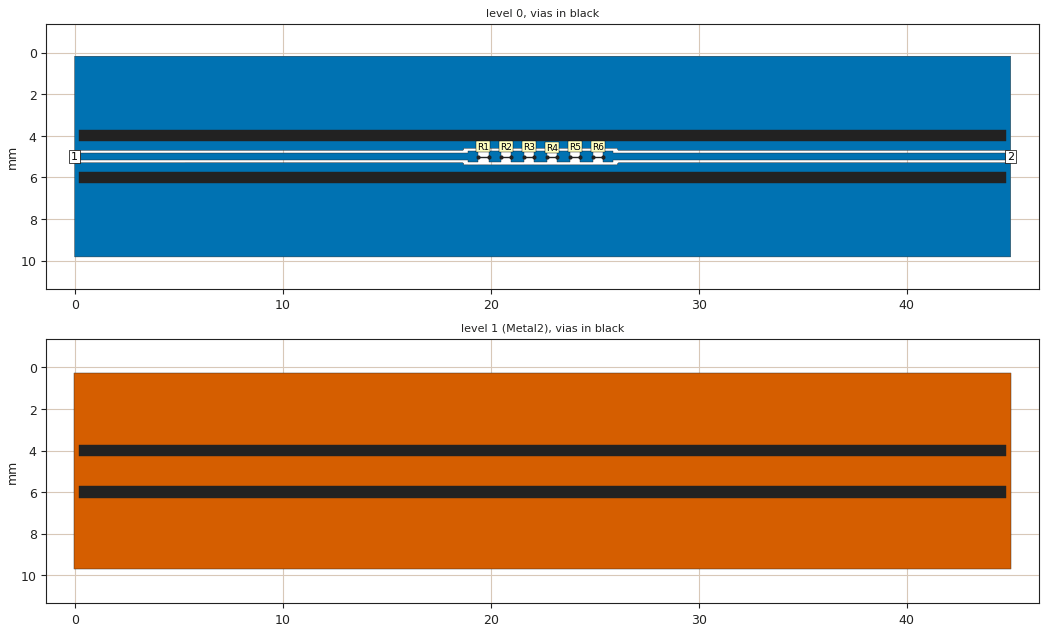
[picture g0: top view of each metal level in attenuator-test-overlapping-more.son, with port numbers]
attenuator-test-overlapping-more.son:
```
FTYP SONPROJ 17 ! Sonnet Project File
VER 17.52.2
HEADER
LIC antikernel2.2.49648 90e2ba8817c0 havequick azonenberg
DAT 08/30/2020 01:08:44
BUILT_BY_CREATED xgeom 16.56 07/03/2018 15:05:41
BUILT_BY_SAVED sonnet 17.52.2
MDATE 08/30/2020 01:08:44
HDATE 08/30/2020 01:08:44
END HEADER
DIM
ANG DEG
CAP PF
CON /OH
FREQ GHZ
IND NH
LNG MM
RES OH
END DIM
CONTROL
VARSWP
OPTIONS  -dj
SPEED 1
CACHE_ABS 1
Q_ACC N
END CONTROL
GEO
TMET "Free Space" 0 FREESPACE 376.7303136 0 0 0
BMET "Free Space" 0 FREESPACE 376.7303136 0 0 0
MET "Silver" 1 TMM 61700000 0.5 0.035 2
BRI "Alumina (96%)" 0 9.4 0.0004 0 
BRI "Alumina (99.5%)" 0 9.9 0.0001 0 
BRI "Aluminum Nitride" 0 8.6 0.0003 0 
BRI "Arlon 25FR" 0 3.58 0.0035 0 
BRI "Arlon 25N" 0 3.38 0.0025 0 
BRI "Arlon AD5" 0 5.1 0.003 0 
BRI "Arlon AD10" 0 10.2 0.005 0 
BRI "Arlon AD250" 0 2.5 0.0018 0 
BRI "Arlon AD255A" 0 2.55 0.0015 0 
BRI "Arlon AD260A" 0 2.6 0.0018 0 
BRI "Arlon AD270" 0 2.7 0.0023 0 
BRI "Arlon AD300A" 0 3 0.002 0 
BRI "Arlon AD320A" 0 3.2 0.0032 0 
BRI "Arlon AD350A" 0 3.5 0.003 0 
BRI "Arlon AD410" 0 4.1 0.003 0 
BRI "Arlon AD430" 0 4.3 0.003 0 
BRI "Arlon AD450" 0 4.5 0.0035 0 
BRI "Arlon AD600" 0 6.15 0.003 0 
BRI "Arlon AD1000" 0 10.2 0.0023 0 
BRI "Arlon AR1000" 0 9.8 0.003 0 
BRI "Arlon CLTE" 0 2.96 0.0023 0 
BRI "Arlon CLTE-AT" 0 3 0.0013 0 
BRI "Arlon CLTE-P" 0 2.94 0.0025 0 
BRI "Arlon CLTE-XT" 0 2.94 0.0012 0 
BRI "Arlon Cu 217LX" 0 2.17 0.0009 0 
BRI "Arlon Cu 233LX" 0 2.33 0.0013 0 
BRI "Arlon Cu 250GT" 0 2.5 0.001 0 
BRI "Arlon Cu 250GX" 0 2.5 0.0018 0 
BRI "Arlon Cu 6250" 0 2.32 0.0013 0 
BRI "Arlon Cu 6700" 0 2.35 0.0025 0 
BRI "Arlon Di 522" 0 2.5 0.001 0 
BRI "Arlon Di 527" 0 2.5 0.0018 0 
BRI "Arlon Di 870" 0 2.33 0.0013 0 
BRI "Arlon Di 880" 0 2.17 0.0009 0 
BRI "Arlon Iso 917" 0 2.17 0.0013 0 
BRI "Arlon Iso 933" 0 2.33 0.0016 0 
BRI "Arlon Multi HF" 0 3.7 0.004 0 
BRI "Arlon TC350" 0 3.5 0.002 0 
BRI "Arlon TC600" 0 6.15 0.002 0 
BRI "Beryllia (99.5%)" 0 6.5 0.0004 0 
BRI "CEM-1" 0 4.5 0.02 0 
BRI "CEM-3" 0 4.5 0.02 0 
BRI "Dupont 9K7" 0 7.1 0.0012 0 
BRI "Dupont 943" 0 7.4 0.002 0 
BRI "Dupont 951" 0 7.8 0.006 0 
BRI "Dupont FEP" 0 2 0.0005 0 
BRI "Dupont Vacrel" 0 3.8 0.011 0 
BRI "ESL 41010" 0 7.5 0.005 0 
BRI "ESL 41020" 0 7.25 0.005 0 
BRI "ESL 41050" 0 13.5 0.002 0 
BRI "ESL 41060" 0 16.5 0.002 0 
BRI "ESL 41110" 0 4.5 0.004 0 
BRI "Ferro A6M" 0 5.9 0.002 0 
BRI "Ferro A6S" 0 5.9 0.002 0 
BRI "Ferro L8" 0 7.3 0.0018 0 
BRI "FR-4" 0 4.4 0.02 0 
BRI "G-10" 0 4.8 0.025 0 
BRI "Gallium Arsenide" 0 12.9 0.006 0 
BRI "Gallium Nitride" 0 9.7 0 0 
BRI "Glass (Pyrex)" 0 4.82 0.0054 0 
BRI "Heraeus HL2000" 0 7.3 0.0026 0 
BRI "Isola 370HR" 0 4.04 0.021 0 
BRI "Isola FR408" 0 3.77 0.0116 0 
BRI "Isola FR408HR" 0 3.68 0.0092 0 
BRI "Isola Getek" 0 3.6 0.01 0 
BRI "Isola GI-180" 0 3.7 0.013 0 
BRI "Isola IS415" 0 3.82 0.0125 0 
BRI "Isola IS620i" 0 3.58 0.006 0 
BRI "Isola IS680-280" 0 2.8 0.0025 0 
BRI "Isola IS680-300" 0 3 0.003 0 
BRI "Isola IS680-320" 0 3.2 0.003 0 
BRI "Isola IS680-333" 0 3.33 0.003 0 
BRI "Isola IS680-338" 0 3.38 0.0032 0 
BRI "Isola IS680-345" 0 3.45 0.0036 0 
BRI "Kerafol CT800" 0 5.3 0.008 0 
BRI "Nelco MW9350" 0 3.7 0.004 0 
BRI "Nelco N4000-12" 0 3.7 0.008 0 
BRI "Nelco N4000-13" 0 3.7 0.009 0 
BRI "Nelco N4000-13SI" 0 3.2 0.007 0 
BRI "Nelco N4000-13EP" 0 3.7 0.008 0 
BRI "Nelco N4350-13RF" 0 3.5 0.0065 0 
BRI "Nelco N4380-13RF" 0 3.8 0.007 0 
BRI "Nelco N9300-13RF" 0 3 0.004 0 
BRI "Nelco N9320-13RF" 0 3.2 0.0045 0 
BRI "Nelco N9338-13RF" 0 3.38 0.0046 0 
BRI "Nelco N9350-13RF" 0 3.48 0.0055 0 
BRI "Nelco NH9294" 0 2.94 0.0022 0 
BRI "Nelco NH9300" 0 3 0.0023 0 
BRI "Nelco NH9320" 0 3.2 0.0024 0 
BRI "Nelco NH9338" 0 3.38 0.0025 0 
BRI "Nelco NH9348" 0 3.48 0.003 0 
BRI "Nelco NH9350" 0 3.5 0.003 0 
BRI "Nelco NH9410" 0 4.1 0.003 0 
BRI "Nelco NH9450" 0 4.5 0.003 0 
BRI "Nelco NX9240" 0 2.4 0.0016 0 
BRI "Nelco NX9245" 0 2.45 0.0016 0 
BRI "Nelco NX9250" 0 2.5 0.0017 0 
BRI "Nelco NX9255" 0 2.55 0.0018 0 
BRI "Nelco NX9260" 0 2.6 0.0019 0 
BRI "Nelco NY9208" 0 2.08 0.0006 0 
BRI "Nelco NY9217" 0 2.17 0.0008 0 
BRI "Nelco NY9220" 0 2.2 0.0009 0 
BRI "Nelco NY9233" 0 2.33 0.0011 0 
BRI "PET" 0 3.37 0.0208 0 
BRI "Polyimide" 0 3.5 0.003 0 
BRI "Quartz (Fused)" 0 3.78 0.0001 0 
BRI "Rogers 3001" 0 2.28 0.003 0 
BRI "Rogers RO2808" 0 7.6 0.0015 0 
BRI "Rogers RO3003" 0 3 0.0013 0 
BRI "Rogers RO3006" 0 6.5 0.002 0 
BRI "Rogers RO3010" 0 11.2 0.0022 0 
BRI "Rogers RO3035" 0 3.6 0.0018 0 
BRI "Rogers RO3203" 0 3.02 0.0016 0 
BRI "Rogers RO3206" 0 6.6 0.0027 0 
BRI "Rogers RO3210" 0 10.8 0.0027 0 
BRI "Rogers RO3730" 0 3 0.0016 0 
BRI "Rogers RO4003C" 0 3.55 0.0029 0 
BRI "Rogers RO4533" 0 3.45 0.0029 0 
BRI "Rogers RO4534" 0 3.4 0.003 0 
BRI "Rogers RO4350B" 0 3.66 0.0037 0 
BRI "Rogers RO4350BTX" 0 3.66 0.0034 0 
BRI "Rogers RO4360" 0 6.15 0.0038 0 
BRI "Rogers RO4450B-3.6" 0 3.3 0.0043 0 
BRI "Rogers RO4450B-4" 0 3.54 0.004 0 
BRI "Rogers RO4450F" 0 3.52 0.0041 0 
BRI "Rogers RO4730" 0 3 0.0033 0 
BRI "Rogers RT5870" 0 2.33 0.0012 0 
BRI "Rogers RT5880" 0 2.2 0.0009 0 
BRI "Rogers RT5880LZ" 0 1.96 0.0019 0 
BRI "Rogers RT6002" 0 2.94 0.0012 0 
BRI "Rogers RT6006" 0 6.15 0.0027 0 
BRI "Rogers RT6010LM" 0 10.9 0.0023 0 
BRI "Rogers RT6035HTC" 0 3.6 0.0013 0 
BRI "Rogers RT6202" 0 2.94 0.0015 0 
BRI "Rogers RT6202PR" 0 2.95 0.0015 0 
BRI "Rogers Syron7000" 0 3.4 0.0045 0 
BRI "Rogers Syron7100-2" 0 3.61 0.006 0 
BRI "Rogers Syron7100-4" 0 3.39 0.005 0 
BRI "Rogers Theta" 0 4.01 0.0118 0 
BRI "Rogers TMM 3" 0 3.39 0.002 0 
BRI "Rogers TMM 4" 0 4.5 0.002 0 
BRI "Rogers TMM 6" 0 6 0.0023 0 
BRI "Rogers TMM 10" 0 9.56 0.0022 0 
BRI "Rogers TMM 10i" 0 9.96 0.002 0 
BRI "Rogers UL2000" 0 2.5 0.0019 0 
BRI "Rogers UL3850" 0 3.05 0.0025 0 
BRI "Rogers UL3908" 0 2.9 0.0025 0 
BRI "Rogers XT8000" 0 3.34 0.0035 0 
BRI "Rogers XT8100-2" 0 3.54 0.0049 0 
BRI "Rogers XT8100-4" 0 3.32 0.0038 0 
BRI "Silicon (intrinsic)" 0 11.9 0.004 0.00044 
BRI "Silicon Dioxide" 0 3.9 0 0 
BRI "Silicon Nitride" 0 7.5 0 0 
BRI "Taconic CER-10" 0 10 0.0035 0 
BRI "Taconic FastFilm" 0 2.7 0.0012 0 
BRI "Taconic Fastrise-DS" 0 2.96 0.0018 0 
BRI "Taconic Fastrise27" 0 2.7 0.0014 0 
BRI "Taconic Fastrise77" 0 7.7 0.0034 0 
BRI "Taconic FEP" 0 2 0.0003 0 
BRI "Taconic RF-30" 0 3 0.0014 0 
BRI "Taconic RF-35" 0 3.5 0.0018 0 
BRI "Taconic RF-35A2" 0 3.5 0.0011 0 
BRI "Taconic RF-35P" 0 3.5 0.0025 0 
BRI "Taconic RF-41" 0 4.1 0.0038 0 
BRI "Taconic RF-43" 0 4.3 0.0033 0 
BRI "Taconic RF-45" 0 4.5 0.0037 0 
BRI "Taconic RF-60A" 0 6.15 0.0038 0 
BRI "Taconic RF-301" 0 2.97 0.0012 0 
BRI "Taconic TacBond HT" 0 2.35 0.0025 0 
BRI "Taconic TLA-6" 0 2.62 0.0012 0 
BRI "Taconic TLC-27" 0 2.75 0.003 0 
BRI "Taconic TLC-30" 0 3 0.003 0 
BRI "Taconic TLC-32" 0 3.2 0.003 0 
BRI "Taconic TLE-95" 0 2.95 0.0028 0 
BRI "Taconic TLF-34" 0 3.4 0.002 0 
BRI "Taconic TLF-35" 0 3.5 0.002 0 
BRI "Taconic TLP-3" 0 2.33 0.0009 0 
BRI "Taconic TLP-5" 0 2.2 0.0009 0 
BRI "Taconic TLP-5A" 0 2.17 0.0009 0 
BRI "Taconic TLT-0" 0 2.45 0.0006 0 
BRI "Taconic TLT-9" 0 2.5 0.0006 0 
BRI "Taconic TLT-8" 0 2.55 0.0006 0 
BRI "Taconic TLT-7" 0 2.6 0.0006 0 
BRI "Taconic TLT-6" 0 2.65 0.0006 0 
BRI "Taconic TLX-0" 0 2.45 0.0019 0 
BRI "Taconic TLX-9" 0 2.5 0.0019 0 
BRI "Taconic TLX-8" 0 2.55 0.0019 0 
BRI "Taconic TLX-7" 0 2.6 0.0019 0 
BRI "Taconic TLX-6" 0 2.65 0.0019 0 
BRI "Taconic TLY-3" 0 2.33 0.0009 0 
BRI "Taconic TLY-3F" 0 2.33 0.0009 0 
BRI "Taconic TLY-5" 0 2.2 0.0009 0 
BRI "Taconic TLY-5-L" 0 2.2 0.0009 0 
BRI "Taconic TLY-5A" 0 2.17 0.0009 0 
BRI "Taconic TLY-5A-L" 0 2.17 0.0009 0 
BRI "Taconic TPG-30" 0 3 0.0038 0 
BRI "Taconic TPG-32" 0 3.2 0.005 0 
BRI "Taconic TPG-35" 0 3.5 0.005 0 
BRI "Taconic TRF-41" 0 4.1 0.0035 0 
BRI "Taconic TRF-43" 0 4.3 0.0035 0 
BRI "Taconic TRF-45" 0 4.5 0.0035 0 
BRI "Taconic TSM-DS" 0 2.85 0.001 0 
BRI "Taconic TSM-DS3" 0 3 0.0011 0 
BRI "Taconic TSM-26" 0 2.6 0.0014 0 
BRI "Taconic TSM-29" 0 2.94 0.0013 0 
BRI "Taconic TSM-30" 0 3 0.0013 0 
BRI "Teflon (PTFE)" 0 2.08 0.0004 0 
BOX 2 45 10 3600 800 20 0
      1 1 1 0 0 0 0 "Air"
      0.16 3.68 1 0.0092 0 0 0 "Isola FR408HR"
      1 1 1 0 0 0 0 "Substrate"
TECHLAY METAL Metal1 <UNSPECIFIED> -2 0 
0 0 0 N 0 1 1 100 100 0 0 0 Y
END
END
TECHLAY VIA Via1 <UNSPECIFIED> -4 0 
VIA POLYGON
1 0 -1 N 0 1 1 100 100 0 0 0 Y
TOLEVEL 0 RING NOCOVERS
END
END
TECHLAY METAL Metal2 <UNSPECIFIED> -3 0 
1 0 -1 N 0 1 1 100 100 0 0 0 Y
END
END
LORGN 0 10 U 
POR1 BOX
POLY 788 1
3
1 50 0 0 0 0 5 
POR1 BOX
POLY 791 1
1
2 50 0 0 0 45 5 
SMD 0 "R1"
ID 473
GNDREF AUTO
SBOX 19.525 19.775 4.875 5.125
PBSHW N
LPOS 19.65 4.875
TYPE SPARAM 1
SMDP 0 19.4 5 L 3 1 
EXSMDP
GNDREF AUTO
TERMW FEED
END EXSMDP
SMDP 0 19.9 5 R 4 2 
EXSMDP
GNDREF AUTO
TERMW FEED
END EXSMDP
END
SMD 0 "R2"
ID 476
GNDREF AUTO
SBOX 20.625 20.875 4.875 5.125
PBSHW N
LPOS 20.75 4.875
TYPE SPARAM 2
SMDP 0 20.5 5 L 5 1 
EXSMDP
GNDREF AUTO
TERMW FEED
END EXSMDP
SMDP 0 21 5 R 6 2 
EXSMDP
GNDREF AUTO
TERMW FEED
END EXSMDP
END
SMD 0 "R3"
ID 479
GNDREF AUTO
SBOX 21.725 21.975 4.875 5.125
PBSHW N
LPOS 21.85 4.875
TYPE SPARAM 2
SMDP 0 21.6 5 L 7 1 
EXSMDP
GNDREF AUTO
TERMW FEED
END EXSMDP
SMDP 0 22.1 5 R 8 2 
EXSMDP
GNDREF AUTO
TERMW FEED
END EXSMDP
END
SMD 0 "R4"
ID 482
GNDREF AUTO
SBOX 22.825 23.075 4.9 5.15
PBSHW N
LPOS 22.95 4.9
TYPE SPARAM 2
SMDP 0 22.7 5.025 L 9 1 
EXSMDP
GNDREF AUTO
TERMW FEED
END EXSMDP
SMDP 0 23.2 5.025 R 10 2 
EXSMDP
GNDREF AUTO
TERMW FEED
END EXSMDP
END
SMD 0 "R5"
ID 485
GNDREF AUTO
SBOX 23.925 24.175 4.875 5.125
PBSHW N
LPOS 24.05 4.875
TYPE SPARAM 2
SMDP 0 23.8 5 L 11 1 
EXSMDP
GNDREF AUTO
TERMW FEED
END EXSMDP
SMDP 0 24.3 5 R 12 2 
EXSMDP
GNDREF AUTO
TERMW FEED
END EXSMDP
END
SMD 0 "R6"
ID 488
GNDREF AUTO
SBOX 25.025 25.275 4.875 5.125
PBSHW N
LPOS 25.15 4.875
TYPE SPARAM 3
SMDP 0 24.9 5 L 13 1 
EXSMDP
GNDREF AUTO
TERMW FEED
END EXSMDP
SMDP 0 25.4 5 R 14 2 
EXSMDP
GNDREF AUTO
TERMW FEED
END EXSMDP
END
NUM 12
0 5 0 N 778 1 1 100 100 0 0 0 Y
USER_DAT FromImport
20.5 4.75
19.9 4.75
19.9 5.25
20.5 5.25
20.5 4.75
END
0 5 0 N 780 1 1 100 100 0 0 0 Y
USER_DAT FromImport
21.6 4.75
21 4.75
21 5.25
21.6 5.25
21.6 4.75
END
0 5 0 N 782 1 1 100 100 0 0 0 Y
USER_DAT FromImport
22.7 4.75
22.1 4.75
22.1 5.25
22.7 5.25
22.7 4.75
END
0 5 0 N 783 1 1 100 100 0 0 0 Y
USER_DAT FromImport
23.8 4.75
23.2 4.75
23.2 5.25
23.8 5.25
23.8 4.75
END
0 5 0 N 784 1 1 100 100 0 0 0 Y
USER_DAT FromImport
24.9 4.75
24.3 4.75
24.3 5.25
24.9 5.25
24.9 4.75
END
0 9 0 N 788 1 1 100 100 0 0 0 Y
USER_DAT FromImport
19.4 4.75
18.9 4.75
18.9 4.85
0 4.85
0 5.15
18.9 5.15
18.9 5.25
19.4 5.25
19.4 4.75
END
0 113 0 N 790 1 1 100 100 0 0 0 Y
USER_DAT FromImport
39.703 4.699
45 4.699
45 0.175
0 0.175
0 4.699
5.297 4.699
5.301 4.6994
5.301 4.6994
5.307 4.7
18.641 4.7
18.647 4.6994
18.653 4.6982
18.659 4.6964
18.664 4.6941
18.67 4.6912
18.675 4.6878
18.68 4.6839
18.684 4.6795
18.688 4.6748
18.691 4.6697
18.694 4.6643
18.696 4.6586
18.698 4.6527
18.699 4.6467
18.7 4.6406
18.7 4.60186
18.70045614 4.600254386
18.703 4.6
18.893 4.6
18.899 4.5994
18.899 4.5994
18.903 4.599
19.397 4.599
19.401 4.5994
19.401 4.5994
19.401 4.5994
19.407 4.6
19.893 4.6
19.899 4.5994
19.899 4.5994
19.903 4.599
20.497 4.599
20.501 4.5994
20.501 4.5994
20.501 4.5994
20.507 4.6
20.993 4.6
20.999 4.5994
20.999 4.5994
21.003 4.599
21.597 4.599
21.601 4.5994
21.601 4.5994
21.601 4.5994
21.607 4.6
22.093 4.6
22.099 4.5994
22.099 4.5994
22.103 4.599
22.697 4.599
22.701 4.5994
22.701 4.5994
22.701 4.5994
22.707 4.6
23.193 4.6
23.199 4.5994
23.199 4.5994
23.203 4.599
23.797 4.599
23.801 4.5994
23.801 4.5994
23.801 4.5994
23.807 4.6
24.293 4.6
24.299 4.5994
24.299 4.5994
24.303 4.599
24.897 4.599
24.901 4.5994
24.901 4.5994
24.901 4.5994
24.907 4.6
25.393 4.6
25.399 4.5994
25.399 4.5994
25.403 4.599
25.897 4.599
25.901 4.5994
25.901 4.5994
25.901 4.5994
25.907 4.6
26.097 4.6
26.09954386 4.600254386
26.1 4.60186
26.1 4.6344
26.1 4.6406
26.101 4.6467
26.102 4.6527
26.104 4.6586
26.106 4.6643
26.109 4.6697
26.112 4.6748
26.116 4.6795
26.12 4.6839
26.125 4.6878
26.13 4.6912
26.136 4.6941
26.141 4.6964
26.147 4.6982
26.153 4.6994
26.159 4.7
39.693 4.7
39.703 4.699
END
0 9 0 N 791 1 1 100 100 0 0 0 Y
USER_DAT FromImport
25.9 5.15
45 5.15
45 4.85
25.9 4.85
25.9 4.75
25.4 4.75
25.4 5.25
25.9 5.25
25.9 5.15
END
0 113 0 N 792 1 1 100 100 0 0 0 Y
USER_DAT FromImport
45 5.301
39.703 5.301
39.693 5.3
26.159 5.3
26.153 5.3006
26.147 5.3018
26.141 5.3036
26.136 5.3059
26.13 5.3088
26.125 5.3122
26.12 5.3161
26.116 5.3205
26.112 5.3252
26.109 5.3303
26.106 5.3357
26.104 5.3414
26.102 5.3473
26.101 5.3533
26.1 5.3594
26.1 5.3656
26.1 5.39814
26.09954386 5.399745614
26.097 5.4
25.907 5.4
25.901 5.4006
25.901 5.4006
25.901 5.4006
25.897 5.401
25.403 5.401
25.399 5.4006
25.399 5.4006
25.393 5.4
24.907 5.4
24.901 5.4006
24.901 5.4006
24.901 5.4006
24.897 5.401
24.303 5.401
24.299 5.4006
24.299 5.4006
24.293 5.4
23.807 5.4
23.801 5.4006
23.801 5.4006
23.801 5.4006
23.797 5.401
23.203 5.401
23.199 5.4006
23.199 5.4006
23.193 5.4
22.707 5.4
22.701 5.4006
22.701 5.4006
22.701 5.4006
22.697 5.401
22.103 5.401
22.099 5.4006
22.099 5.4006
22.093 5.4
21.607 5.4
21.601 5.4006
21.601 5.4006
21.601 5.4006
21.597 5.401
21.003 5.401
20.999 5.4006
20.999 5.4006
20.993 5.4
20.507 5.4
20.501 5.4006
20.501 5.4006
20.501 5.4006
20.497 5.401
19.903 5.401
19.899 5.4006
19.899 5.4006
19.893 5.4
19.407 5.4
19.401 5.4006
19.401 5.4006
19.401 5.4006
19.397 5.401
18.903 5.401
18.899 5.4006
18.899 5.4006
18.893 5.4
18.703 5.4
18.70045614 5.399745614
18.7 5.39814
18.7 5.3594
18.699 5.3533
18.698 5.3473
18.696 5.3414
18.694 5.3357
18.691 5.3303
18.688 5.3252
18.684 5.3205
18.68 5.3161
18.675 5.3122
18.67 5.3088
18.664 5.3059
18.659 5.3036
18.653 5.3018
18.647 5.3006
18.641 5.3
5.307 5.3
5.301 5.3006
5.301 5.3006
5.297 5.301
0 5.301
0 9.825
45 9.825
45 5.301
END
VIA POLYGON
1 5 -1 N 767 1 1 100 100 0 0 0 Y
TOLEVEL 0 RING NOCOVERS
TLAYNAM Via1 INH
0.2 5.725
44.772 5.725
44.772 6.2747
0.2 6.2747
0.2 5.725
END
VIA POLYGON
1 5 -1 N 768 1 1 100 100 0 0 0 Y
TOLEVEL 0 RING NOCOVERS
TLAYNAM Via1 INH
0.225 3.725
44.797 3.725
44.797 4.2747
0.225 4.2747
0.225 3.725
END
1 5 -1 N 770 1 1 100 100 0 0 0 Y
TLAYNAM Metal2 INH
USER_DAT FromImport
-0.013 9.7125
-0.013 0.2875
45 0.2875
45 9.7125
-0.013 9.7125
END
END GEO
OPT
MAX 100
END OPT
VARSWP
ENABLED Y
FREQ Y AY ABS_ENTRY 0.1 6.0 -1 300 
END
END VARSWP
FILEOUT
FOLDER .
END FILEOUT
SMDFILES
3 "../../../../../../share/datasheets/Vishay/0402/FC0402-FlipChip-50 Ohm.s2p"
1 "../../../../../../share/datasheets/Vishay/0402/FC0402-FlipChip-100 Ohm.s2p"
2 "../../../../../../share/datasheets/Vishay/0402/FC0402-FlipChip-75 Ohm.s2p"
END SMDFILES
```
